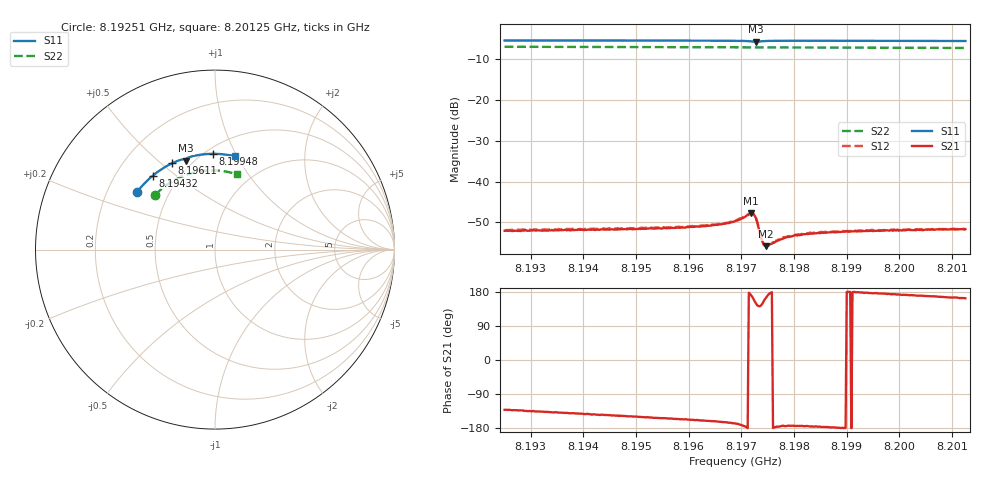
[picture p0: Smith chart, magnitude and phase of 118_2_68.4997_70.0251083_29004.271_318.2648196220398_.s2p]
#  HZ  S  RI  R  50.00
! Rohde & Schwarz Vector Network Analyzer
! Rohde-Schwarz,ZNB20-2Port,1311601062101988,3.16
! Created: UTC 3/20/2024, 4:53:51 PM
! freq[Hz]  re:S11  im:S11  re:S21  im:S21  re:S12  im:S12  re:S22  im:S22
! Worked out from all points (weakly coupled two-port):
!   401 points, 8.19251 GHz to 8.20125 GHz, reference 50 ohm
!   highest |S21| = -47.80 dB at 8.19719 GHz (marker M1); lowest = -55.8 dB at 8.19747 GHz (marker M2)
!   lowest |S11| = -5.7 dB at 8.19727 GHz (marker M3), VSWR 3.17, Z = 22.9 + j31.1 ohm
!   |S11| at or under -10 dB: nowhere
!   |S22| runs from -7.2 to -6.9 dB; largest |S21 - S12| = 0.00025
!   S11 on the Smith chart (normalised r, x): 8.19251 GHz: 0.33, +0.30; 8.19432 GHz: 0.36, +0.42; 8.19611 GHz: 0.40, +0.54; 8.19948 GHz: 0.55, +0.82; 8.20125 GHz: 0.68, +0.98
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8.192506e9  -0.4345 0.3203  -0.00166 -0.00187  -0.00172 -0.0019  -0.3324 0.3054
8.193972e9  -0.3649 0.3964  -0.00202 -0.00161  -0.0021 -0.00154  -0.2708 0.3585
8.194321e9  -0.3462 0.4124  -0.00213 -0.00148  -0.0022 -0.00148  -0.2547 0.3695
8.195437e9  -0.2818 0.458  -0.00242 -0.00122  -0.00248 -0.00117  -0.2003 0.3998
8.196115e9  -0.2392 0.4806  -0.0026 -0.00102  -0.00268 -0.000931  -0.1653 0.4145
8.19653e9  -0.2117 0.4927  -0.00281 -0.000903  -0.00288 -0.000797  -0.1432 0.4218
8.19688e9  -0.1867 0.5014  -0.0032 -0.000713  -0.00328 -0.000617  -0.1242 0.4271
8.197186e9  -0.1612 0.5007  -0.00402 0.000668  -0.00408 0.000862  -0.1075 0.4309
8.19723e9  -0.1594 0.4977  -0.0038 0.00129  -0.00375 0.00149  -0.1051 0.4314
8.197274e9  -0.1605 0.4956  -0.00315 0.00178  -0.00311 0.00196  -0.1027 0.4319
8.197318e9  -0.1628 0.4966  -0.00231 0.00175  -0.00229 0.0019  -0.1004 0.4323
8.197383e9  -0.1625 0.502  -0.00164 0.00112  -0.0016 0.00118  -0.0969 0.4331
8.197405e9  -0.1616 0.5037  -0.00157 0.000911  -0.00156 0.000968  -0.0957 0.4333
8.197427e9  -0.1602 0.5053  -0.00152 0.000687  -0.00153 0.000777  -0.0945 0.4337
8.197471e9  -0.1573 0.508  -0.00156 0.000425  -0.00155 0.000464  -0.0922 0.4342
8.197515e9  -0.154 0.5102  -0.00163 0.000203  -0.00165 0.000282  -0.0897 0.4347
8.197843e9  -0.1292 0.5192  -0.00206 -0.000199  -0.00208 -0.000159  -0.0713 0.4374
8.198039e9  -0.115 0.5227  -0.0022 -0.00022  -0.00224 -0.000147  -0.0603 0.4388
8.198346e9  -0.0932 0.5268  -0.0023 -0.000203  -0.00234 -0.000109  -0.0431 0.4404
8.199483e9  -0.0124 0.5338  -0.00249 0.000171  -0.00256 0.000251  0.0213 0.4397
8.199811e9  0.0108 0.5334  -0.00249 0.000258  -0.00254 0.000375  0.0398 0.4377
8.201254e9  0.1119 0.5199  -0.0025 0.000769  -0.0025 0.000843  0.1198 0.4202
